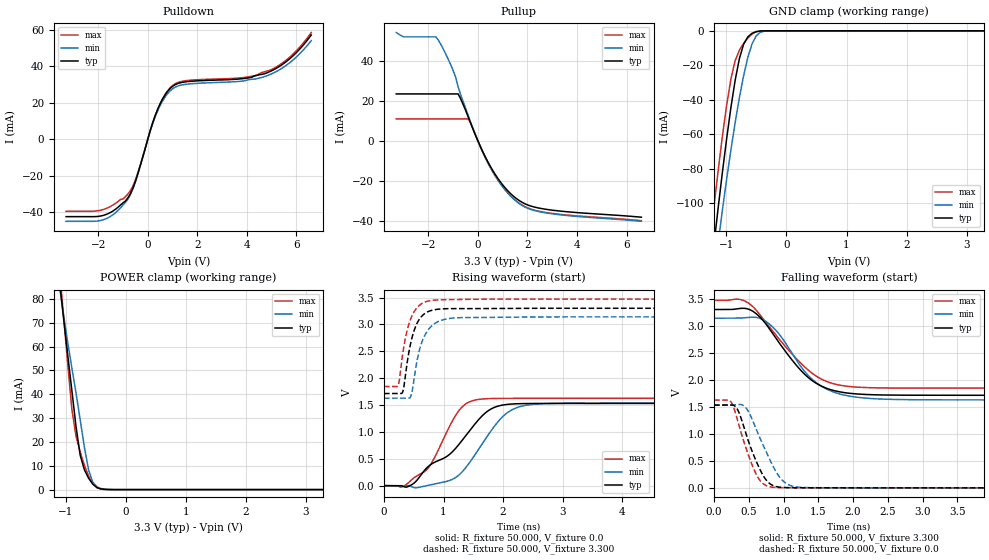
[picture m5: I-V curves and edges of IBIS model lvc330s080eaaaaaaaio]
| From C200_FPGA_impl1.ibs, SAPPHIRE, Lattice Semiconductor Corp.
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[Model] lvc330s080eaaaaaaaio
Model_type I/O
Polarity   Non-Inverting
Enable   Active-Low
Vinl =  0.800V
Vinh =  2.000V
Vmeas =  1.650V
Cref =  0.0F
Rref =  1.000M
Vref =  0.0V
C_comp   5.000pF   4.000pF   5.500pF
[Temperature Range]   25.000   0.125k   -40.000
[Voltage Range]   3.300V   3.140V   3.470V
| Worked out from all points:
|   slope of the pulldown table from 0 to 0.495 V, typ, clamps not added: 25.7 ohm
|   slope of the pullup table from 0 to 0.495 V, typ, clamps not added: 39.4 ohm
|   GND clamp passes 1 mA (typ) near -0.54 V on its own axis
|   POWER clamp passes 1 mA (typ) near -0.49 V on its own axis
|   rising waveform, R_fixture 50.000, V_fixture 0.0: 20-80 % time 888ps typ, 593ps min, 460ps max; typ from 0 V to 1.53 V
|   rising waveform, R_fixture 50.000, V_fixture 3.300: 20-80 % time 181ps typ, 208ps min, 182ps max; typ from 1.71 V to 3.3 V
|   falling waveform, R_fixture 50.000, V_fixture 3.300: 20-80 % time 591ps typ, 546ps min, 669ps max; typ from 3.3 V to 1.71 V
|   falling waveform, R_fixture 50.000, V_fixture 0.0: 20-80 % time 268ps typ, 326ps min, 253ps max; typ from 1.53 V to 0 V
[Pulldown]
|Voltage   I(typ)   I(min)   I(max)
-3.3V     -42.56mA   -45.11mA   -39.64mA
-1.8V     -41.88mA   -44.27mA   -38.64mA
-900mV    -33.92mA   -34.73mA   -31.6mA
-500mV    -23.27mA   -23.29mA   -22.42mA
300mV     12.95mA    12.36mA    12.96mA
600mV     22.06mA    21.03mA    22.23mA
1V        28.99mA    27.65mA    29.45mA
1.6V      31.58mA    30.21mA    32.2mA
4V        33.5mA     32.36mA    34.07mA
4.9V      36.93mA    35.29mA    37.66mA
5.8V      44.95mA    42.72mA    45.88mA
6.6V      57.17mA    54.1mA     58.52mA
[Pullup]
|Voltage   I(typ)   I(min)   I(max)
-3.3V     23.51mA    54.2mA     11.05mA
-3V       23.51mA    52.06mA    11.05mA
-1.7V     23.51mA    52.06mA    11.05mA
-1.1V     23.51mA    38.15mA    11.05mA
-800mV    23.51mA    27.14mA    11.05mA
-400mV    12.23mA    13.01mA    11.05mA
-300mV    9.026mA    9.528mA    9.252mA
400mV     -10.43mA   -10.76mA   -10.92mA
1V        -21.99mA   -22.91mA   -22.96mA
1.6V      -29.24mA   -30.68mA   -30.52mA
2.8V      -34.29mA   -36.08mA   -35.89mA
6.6V      -38.14mA   -40.19mA   -39.87mA
[GND_clamp]
|Voltage   I(typ)   I(min)   I(max)
-3.3V     -912.7mA   -861.5mA   -922.5mA
-1.27V    -145.6mA   -163.6mA   -123.5mA
-1.2V     -123.4mA   -142.6mA   -101.4mA
-1.13V    -102mA     -122.4mA   -80.37mA
-1.06V    -81.56mA   -103.5mA   -60.64mA
-920mV    -44.4mA    -68.93mA   -27.87mA
-780mV    -16.18mA   -38.86mA   -11.24mA
-710mV    -7.839mA   -26.12mA   -7.318mA
-570mV    -1.464mA   -7.654mA   -1.852mA
-430mV    -105.8uA   -801.1uA   -99.73uA
-290mV    -1.56uA    -33.42uA   -868.4nA
3.28V     0A         0A         0A
[POWER_clamp]
|Voltage   I(typ)   I(min)   I(max)
-3.28V    889.6mA    708.9mA    1.058A
-1.11V    88.63mA    85.92mA    94.1mA
-1.04V    72.5mA     73.68mA    73.39mA
-900mV    41.77mA    51.14mA    33.83mA
-830mV    26.51mA    40.62mA    22.43mA
-760mV    14.38mA    29.24mA    15.78mA
-690mV    8.342mA    17.8mA     10.23mA
-620mV    4.786mA    8.257mA    5.778mA
-550mV    2.295mA    3.118mA    2.584mA
-480mV    835uA      1.137mA    782uA
-200mV    3.621uA    22.63uA    424nA
3.3V      0A         0A         0A
[Ramp]
| variable   typ   min   max
dV/dt_r 0.918/0.888n   0.922/0.605n   0.975/0.473n
dV/dt_f 0.952/0.605n   0.908/0.559n   0.975/0.675n
R_load = 50.000
[Rising Waveform]
R_fixture= 50.000
V_fixture= 0.0
V_fixture_min= 0.0
V_fixture_max= 0.0
|time   V(typ)   V(min)   V(max)
0s        0V         0V         0V
395ps     -21.34mV   -312.5uV   39.25mV
706ps     316.6mV    -3.968mV   286.4mV
1.246ns   750.4mV    186.7mV    1.379V
1.386ns   948.4mV    353.4mV    1.531V
1.583ns   1.221V     668.1mV    1.604V
1.794ns   1.424V     1.016V     1.621V
2.036ns   1.507V     1.326V     1.624V
2.494ns   1.529V     1.511V     1.625V
10ns      1.53V      1.536V     1.625V
[Rising Waveform]
R_fixture= 50.000
V_fixture= 3.300
V_fixture_min= 3.140
V_fixture_max= 3.470
|time   V(typ)   V(min)   V(max)
0s        1.713V     1.627V     1.845V
239ps     1.713V     1.627V     1.864V
327ps     1.793V     1.627V     2.539V
441ps     2.611V     1.64V      3.082V
471ps     2.754V     1.745V     3.162V
520ps     2.929V     2.095V     3.26V
615ps     3.128V     2.598V     3.372V
795ps     3.259V     2.965V     3.446V
1.314ns   3.293V     3.127V     3.464V
10ns      3.3V       3.14V      3.47V
[Falling Waveform]
R_fixture= 50.000
V_fixture= 3.300
V_fixture_min= 3.140
V_fixture_max= 3.470
|time   V(typ)   V(min)   V(max)
0s        3.3V       3.14V      3.47V
425ps     3.323V     3.147V     3.467V
564ps     3.263V     3.159V     3.346V
717ps     3.079V     3.103V     3.108V
934ps     2.689V     2.848V     2.757V
1.343ns   2.055V     2.095V     2.192V
1.588ns   1.858V     1.848V     1.986V
1.894ns   1.759V     1.711V     1.884V
2.877ns   1.714V     1.631V     1.846V
10ns      1.713V     1.627V     1.845V
[Falling Waveform]
R_fixture= 50.000
V_fixture= 0.0
V_fixture_min= 0.0
V_fixture_max= 0.0
|time   V(typ)   V(min)   V(max)
0s        1.53V      1.536V     1.625V
249ps     1.532V     1.536V     1.58V
342ps     1.439V     1.541V     1.231V
445ps     1.059V     1.499V     791mV
644ps     383.3mV    970.2mV    166.9mV
747ps     149.4mV    673.8mV    44.28mV
844ps     45.12mV    410.9mV    11.94mV
1.028ns   5.463mV    90.96mV    2.422mV
1.295ns   2.069mV    6.213mV    1.442mV
10ns      0V         0V         0V
